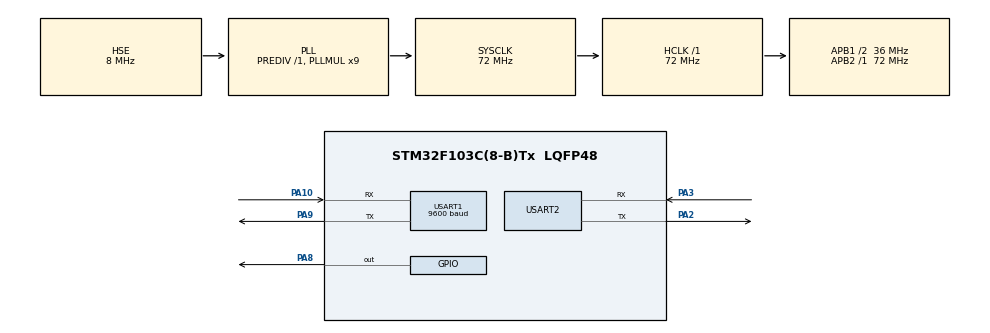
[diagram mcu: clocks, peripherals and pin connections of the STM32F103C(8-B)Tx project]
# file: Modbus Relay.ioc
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Mcu.Family=STM32F1
Mcu.Name=STM32F103C(8-B)Tx
Mcu.Package=LQFP48
NVIC.PriorityGroup=NVIC_PRIORITYGROUP_4
PA10.Mode=Asynchronous
PA10.Signal=USART1_RX
PA13.Mode=Serial_Wire
PA13.Signal=SYS_JTMS-SWDIO
PA14.Mode=Serial_Wire
PA14.Signal=SYS_JTCK-SWCLK
PA2.Mode=Asynchronous
PA2.Signal=USART2_TX
PA3.Mode=Asynchronous
PA3.Signal=USART2_RX
PA8.PinState=GPIO_PIN_SET
PA8.Signal=GPIO_Output
PA9.Mode=Asynchronous
PA9.Signal=USART1_TX
PD0-OSC_IN.Mode=HSE-External-Oscillator
PD0-OSC_IN.Signal=RCC_OSC_IN
PD1-OSC_OUT.Mode=HSE-External-Oscillator
PD1-OSC_OUT.Signal=RCC_OSC_OUT
ProjectManager.HeapSize=0x200
ProjectManager.StackSize=0x400
ProjectManager.TargetToolchain=MDK-ARM V5
RCC.AHBFreq_Value=72000000
RCC.APB1CLKDivider=RCC_HCLK_DIV2
RCC.APB1Freq_Value=36000000
RCC.APB1TimFreq_Value=72000000
RCC.APB2Freq_Value=72000000
RCC.APB2TimFreq_Value=72000000
RCC.HCLKFreq_Value=72000000
RCC.PLLMUL=RCC_PLL_MUL9
RCC.PLLSourceVirtual=RCC_PLLSOURCE_HSE
RCC.SYSCLKFreq_VALUE=72000000
RCC.SYSCLKSource=RCC_SYSCLKSOURCE_PLLCLK
RCC.USBFreq_Value=72000000
USART1.BaudRate=9600
USART1.VirtualMode=VM_ASYNC
USART2.VirtualMode=VM_ASYNC
board=custom

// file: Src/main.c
/* USER CODE BEGIN Header */
/**
  ******************************************************************************
  * @file           : main.c
  * @brief          : Main program body
  ******************************************************************************
  * @attention
  *
  * <h2><center>&copy; Copyright (c) 2019 STMicroelectronics.
  * All rights reserved.</center></h2>
  *
  * This software component is licensed by ST under BSD 3-Clause license,
  * the "License"; You may not use this file except in compliance with the
  * License. You may obtain a copy of the License at:
  *                        opensource.org/licenses/BSD-3-Clause
  *
  ******************************************************************************
  */
/* USER CODE END Header */

#include "main.h"
#include "usart.h"
#include "gpio.h"

/* USER CODE BEGIN Includes */
#include "modbus_crc.h"
/* USER CODE END Includes */

void SystemClock_Config(void);

int main(void)
{
  /* USER CODE BEGIN 1 */
	uint8_t cmd[8] = {0x01,0x05,0,0,0,0,0,0};
	uint16_t crc;
	uint8_t i;
  /* USER CODE END 1 */

  /* MCU Configuration--------------------------------------------------------*/

  /* Reset of all peripherals, Initializes the Flash interface and the Systick. */
  HAL_Init();

  /* Configure the system clock */
  SystemClock_Config();

  /* Initialize all configured peripherals */
  MX_GPIO_Init();
  MX_USART1_UART_Init();
  MX_USART2_UART_Init();

  /* Infinite loop */
  while (1)
  {

    /* USER CODE BEGIN 3 */
		for(i=0;i<32;i++){
			cmd[2] = 0;
			cmd[3] = i;
			cmd[4] = 0xFF;
			cmd[5] = 0;
			crc = ModbusCRC_CheckTable(cmd,6);
			cmd[6] = crc & 0xFF;
			cmd[7] = crc >> 8;
			HAL_UART_Transmit(&huart1, cmd, 8, 10);
			HAL_UART_Transmit(&huart2, cmd, 8, 10);
			HAL_Delay(200);
		}

		for(i=0;i<32;i++){
			cmd[2] = 0;
			cmd[3] = i;
			cmd[4] = 0;
			cmd[5] = 0;
			crc = ModbusCRC_CheckTable(cmd,6);
			cmd[6] = crc & 0xFF;
			cmd[7] = crc >> 8;
			HAL_UART_Transmit(&huart1, cmd, 8, 10);
			HAL_UART_Transmit(&huart2, cmd, 8, 10);
			HAL_Delay(200);
		}
  }
  /* USER CODE END 3 */
}

void SystemClock_Config(void)
{
  RCC_OscInitTypeDef RCC_OscInitStruct = {0};
  RCC_ClkInitTypeDef RCC_ClkInitStruct = {0};

  /** Initializes the CPU, AHB and APB busses clocks
  */
  RCC_OscInitStruct.OscillatorType = RCC_OSCILLATORTYPE_HSE;
  RCC_OscInitStruct.HSEState = RCC_HSE_ON;
  RCC_OscInitStruct.HSEPredivValue = RCC_HSE_PREDIV_DIV1;
  RCC_OscInitStruct.HSIState = RCC_HSI_ON;
  RCC_OscInitStruct.PLL.PLLState = RCC_PLL_ON;
  RCC_OscInitStruct.PLL.PLLSource = RCC_PLLSOURCE_HSE;
  RCC_OscInitStruct.PLL.PLLMUL = RCC_PLL_MUL9;
  if (HAL_RCC_OscConfig(&RCC_OscInitStruct) != HAL_OK)
  {
    Error_Handler();
  }
  /** Initializes the CPU, AHB and APB busses clocks
  */
  RCC_ClkInitStruct.ClockType = RCC_CLOCKTYPE_HCLK|RCC_CLOCKTYPE_SYSCLK
                              |RCC_CLOCKTYPE_PCLK1|RCC_CLOCKTYPE_PCLK2;
  RCC_ClkInitStruct.SYSCLKSource = RCC_SYSCLKSOURCE_PLLCLK;
  RCC_ClkInitStruct.AHBCLKDivider = RCC_SYSCLK_DIV1;
  RCC_ClkInitStruct.APB1CLKDivider = RCC_HCLK_DIV2;
  RCC_ClkInitStruct.APB2CLKDivider = RCC_HCLK_DIV1;

  if (HAL_RCC_ClockConfig(&RCC_ClkInitStruct, FLASH_LATENCY_2) != HAL_OK)
  {
    Error_Handler();
  }
}

void Error_Handler(void)
{
}

/************************ (C) COPYRIGHT STMicroelectronics *****END OF FILE****/
